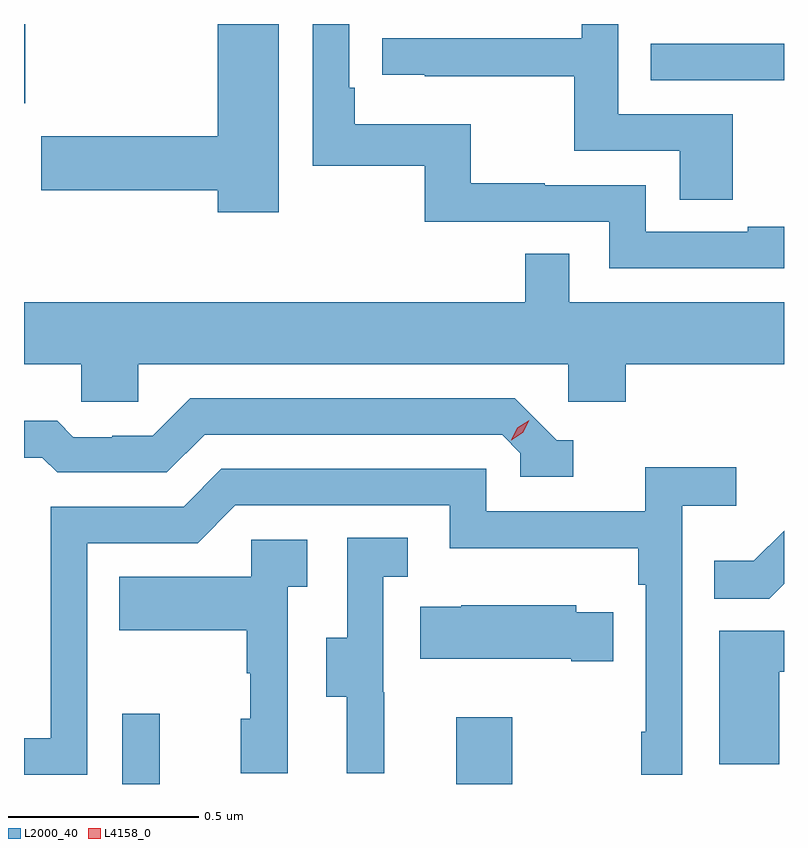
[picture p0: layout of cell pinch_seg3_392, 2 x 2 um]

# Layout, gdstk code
import gdstk
lib = gdstk.Library(unit=1e-6, precision=1e-09)
def R(c, l, rs):  # rectangles x0, y0, x1, y1
    for r in rs: c.add(gdstk.rectangle(r[:2], r[2:], *l))
def P(c, l, *ps):  # polygons
    for p in ps: c.add(gdstk.Polygon(p, *l))
L2000_40 = (2000, 40)
L4158_0 = (4158, 0)

pinch_seg3_392 = lib.new_cell('pinch_seg3_392')
R(pinch_seg3_392, L2000_40, [(956.757,686.492,956.855,686.677), (957.635,686.492,957.783,686.668), (956.498,688.283,956.501,688.492), (958.147,688.344,958.498,688.44)])
P(pinch_seg3_392, L2000_40, [(958.498,687.958),(958.403,687.958),(958.403,687.945),(958.134,687.945),(958.134,688.068),(957.869,688.068),(957.869,688.073),(957.673,688.073),(957.673,688.228),(957.368,688.228),(957.368,688.324),(957.354,688.324),(957.354,688.492),(957.258,688.492),(957.258,688.119),(957.552,688.119),(957.552,687.972),(958.038,687.972),(958.038,687.849),(958.498,687.849)],
  [(957.169,688.492),(957.008,688.492),(957.008,688.196),(956.544,688.196),(956.544,688.054),(957.008,688.054),(957.008,687.996),(957.169,687.996)],
  [(958.363,688.254),(958.062,688.254),(958.062,688.492),(957.966,688.492),(957.966,688.455),(957.441,688.455),(957.441,688.359),(957.553,688.359),(957.553,688.354),(957.946,688.354),(957.946,688.158),(958.223,688.158),(958.223,688.03),(958.363,688.03)],
  [(956.799,687.596),(957.93,687.596),(957.93,687.498),(958.082,687.498),(958.082,687.596),(958.498,687.596),(958.498,687.76),(957.933,687.76),(957.933,687.887),(957.817,687.887),(957.817,687.76),(956.498,687.76),(956.498,687.596),(956.649,687.596),(956.649,687.498),(956.799,687.498)],
  [(957.943,687.396),(957.9,687.396),(957.789,687.507),(956.936,687.507),(956.837,687.408),(956.73,687.408),(956.73,687.405),(956.627,687.405),(956.585,687.448),(956.498,687.448),(956.498,687.351),(956.546,687.351),(956.585,687.312),(956.874,687.312),(956.973,687.411),(957.756,687.411),(957.804,687.363),(957.804,687.3),(957.943,687.3)],
  [(956.664,687.126),(956.955,687.126),(957.054,687.225),(957.618,687.225),(957.618,687.113),(958.114,687.113),(958.114,687.017),(958.134,687.017),(958.134,686.629),(958.122,686.629),(958.122,686.517),(958.23,686.517),(958.23,687.224),(958.372,687.224),(958.372,687.326),(958.133,687.326),(958.133,687.21),(957.714,687.21),(957.714,687.321),(957.017,687.321),(956.918,687.222),(956.568,687.222),(956.568,686.613),(956.498,686.613),(956.498,686.517),(956.664,686.517)],
  [(958.498,687.019),(958.498,687.158),(958.419,687.079),(958.315,687.079),(958.315,686.98),(958.459,686.98)],
  [(957.446,686.733),(957.444,686.733),(957.444,687.037),(957.508,687.037),(957.508,687.14),(957.348,687.14),(957.348,686.877),(957.293,686.877),(957.293,686.722),(957.347,686.722),(957.347,686.52),(957.446,686.52)],
  [(957.192,687.011),(957.244,687.011),(957.244,687.135),(957.096,687.135),(957.096,687.037),(956.749,687.037),(956.749,686.897),(957.084,686.897),(957.084,686.783),(957.094,686.783),(957.094,686.664),(957.068,686.664),(957.068,686.52),(957.192,686.52)],
  [(958.049,686.944),(957.951,686.944),(957.951,686.962),(957.649,686.962),(957.649,686.959),(957.541,686.959),(957.541,686.822),(957.938,686.822),(957.938,686.815),(958.049,686.815)],
  [(958.486,686.787),(958.498,686.787),(958.498,686.895),(958.328,686.895),(958.328,686.544),(958.486,686.544)])
P(pinch_seg3_392, L4158_0, [(957.78,687.397),(957.78,687.398),(957.796,687.43),(957.827,687.449),(957.827,687.449),(957.827,687.449),(957.811,687.416),(957.78,687.397)])

lib.write_gds('pinch_seg3_392.gds')
